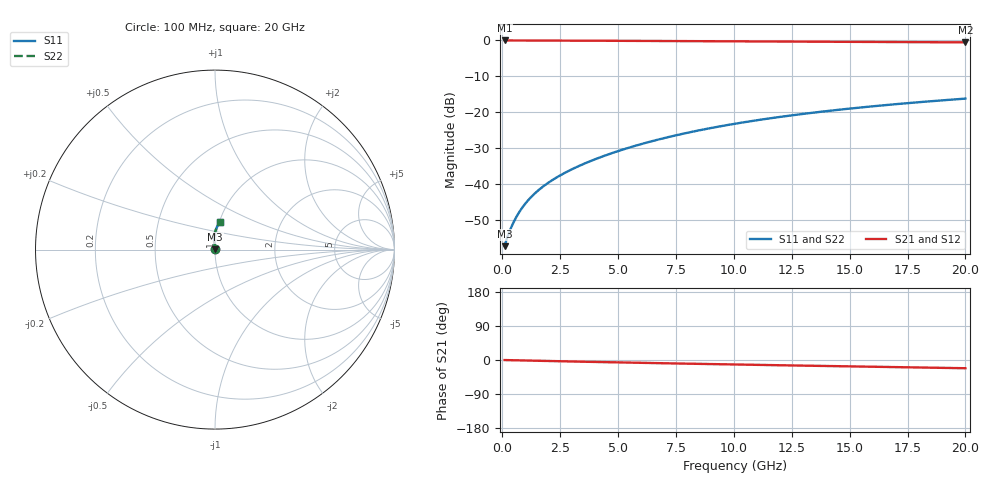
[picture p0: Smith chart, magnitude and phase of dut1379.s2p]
! Touchstone file exported from HFSS 2024.1.0
!  File:  C:/UserFiles/LocalFiles/RDL_TSV_Batchsim/temp_RDL_top_1379_1780367284.aedt
!  Generated:  10:30:06 AM Jun  2, 2026
!  Design:  RDL_top
!  Project:  temp_RDL_top_1379_1780367284
!  Setup:  Setup1
!  Solution:  Sweep
! Variables:
!  dtsv = 10.80580581um
!  hbump = 3um
!  htsv = 68.6um
!  ldown = 100um
!  lrdl = 352.72um
!  p = 40
!  p1 = 41.67um
!  rhole = 1um
!  t = 450um
!  tdown = 3.915915916um
!  trdl = 4.74um
!  wdown = 15.38538539um
!  wrdl = 27.08um
# GHz S MA R 50.000000
! Terminal data exported
! Port[1] = Box2_T1
! Port[2] = Box2_T2
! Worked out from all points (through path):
!   200 points, 100 MHz to 20 GHz, reference 50 ohm
!   highest |S21| = -0.01 dB at 100 MHz (marker M1); lowest = -0.5 dB at 20 GHz (marker M2)
!   group delay of S21, straight-line fit = 2.96 ps
!   lowest |S11| = -57.3 dB at 100 MHz (marker M3), VSWR 1.00, Z = 50.1 + j0.0674 ohm
!   |S11| at or under -10 dB: start of sweep to end of sweep
!   |S22| runs from -57.3 to -16.2 dB; largest |S21 - S12| = 2e-15
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0.1  0.001364 29.6  0.9988 -0.1  0.9988 -0.1  0.001364 29.6
! Gamma 0 0 0 0
! Port Impedance 50 0 50 0
0.2  0.001755 42.6  0.9987 -0.3  0.9987 -0.3  0.001756 42.7
0.3  0.002142 51.6  0.9985 -0.4  0.9985 -0.4  0.002143 51.6
0.4  0.002553 58.3  0.9984 -0.5  0.9984 -0.5  0.002554 58.3
0.6  0.003444 67.3  0.9982 -0.8  0.9982 -0.8  0.003444 67.3
0.7  0.003912 70.5  0.9981 -0.9  0.9981 -0.9  0.003912 70.4
0.9  0.004876 75.1  0.9979 -1.2  0.9979 -1.2  0.004876 75.0
1.2  0.006364 79.6  0.9975 -1.6  0.9975 -1.6  0.006364 79.6
1.6  0.008402 83.6  0.9969 -2.1  0.9969 -2.1  0.008401 83.6
2.1  0.01103 87.0  0.9959 -2.8  0.9959 -2.8  0.01102 86.9
2.7  0.01431 89.9  0.9944 -3.5  0.9944 -3.5  0.01431 89.8
3.5  0.01898 92.7  0.9921 -4.5  0.9921 -4.5  0.01897 92.6
4.2  0.02337 94.4  0.9898 -5.4  0.9898 -5.4  0.02337 94.3
5  0.02876 95.6  0.9869 -6.4  0.9869 -6.4  0.02875 95.6
5.9  0.03525 96.3  0.9836 -7.4  0.9836 -7.4  0.03523 96.3
6.8  0.04214 96.4  0.9802 -8.4  0.9802 -8.4  0.04211 96.4
8.4  0.05512 95.6  0.9743 -10.1  0.9743 -10.1  0.05508 95.6
10.1  0.06958 93.9  0.9683 -11.9  0.9683 -11.9  0.06953 93.9
11.7  0.0835 92.0  0.9631 -13.6  0.9631 -13.6  0.08344 91.9
13.4  0.09838 89.7  0.9579 -15.3  0.9579 -15.3  0.0983 89.6
16.7  0.127 85.1  0.9485 -18.5  0.9485 -18.5  0.1269 85.0
20  0.1547 80.6  0.9399 -21.7  0.9399 -21.7  0.1546 80.5
